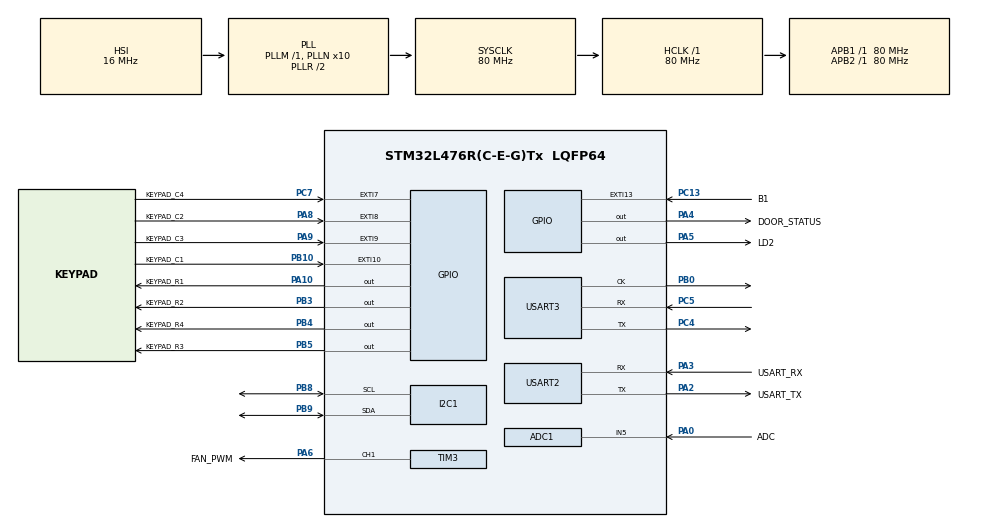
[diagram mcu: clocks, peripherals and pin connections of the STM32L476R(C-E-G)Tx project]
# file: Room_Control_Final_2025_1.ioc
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ADC1.Channel-0\#ChannelRegularConversion=ADC_CHANNEL_5
ADC1.NbrOfConversionFlag=1
ADC1.OffsetNumber-0\#ChannelRegularConversion=ADC_OFFSET_NONE
ADC1.Rank-0\#ChannelRegularConversion=1
ADC1.SamplingTime-0\#ChannelRegularConversion=ADC_SAMPLETIME_2CYCLES_5
ADC1.master=1
Dma.Request0=TIM3_CH1/TRIG
Dma.TIM3_CH1/TRIG.0.Direction=DMA_MEMORY_TO_PERIPH
Dma.TIM3_CH1/TRIG.0.Instance=DMA1_Channel6
Dma.TIM3_CH1/TRIG.0.MemDataAlignment=DMA_MDATAALIGN_HALFWORD
Dma.TIM3_CH1/TRIG.0.MemInc=DMA_MINC_ENABLE
Dma.TIM3_CH1/TRIG.0.Mode=DMA_NORMAL
Dma.TIM3_CH1/TRIG.0.PeriphDataAlignment=DMA_PDATAALIGN_HALFWORD
Dma.TIM3_CH1/TRIG.0.PeriphInc=DMA_PINC_DISABLE
Dma.TIM3_CH1/TRIG.0.Priority=DMA_PRIORITY_LOW
I2C1.Timing=0x10D19CE4
Mcu.Family=STM32L4
Mcu.Name=STM32L476R(C-E-G)Tx
Mcu.Package=LQFP64
NVIC.DMA1_Channel6_IRQn=true\:0\:0\:false\:false\:true\:false\:true\:true
NVIC.EXTI15_10_IRQn=true\:0\:0\:false\:false\:true\:true\:true\:true
NVIC.EXTI9_5_IRQn=true\:0\:0\:false\:false\:true\:true\:true\:true
NVIC.I2C1_ER_IRQn=true\:0\:0\:false\:false\:true\:true\:true\:true
NVIC.I2C1_EV_IRQn=true\:0\:0\:false\:false\:true\:true\:true\:true
NVIC.PriorityGroup=NVIC_PRIORITYGROUP_4
NVIC.TIM3_IRQn=true\:0\:0\:false\:false\:true\:true\:true\:true
NVIC.USART2_IRQn=true\:0\:0\:false\:false\:true\:true\:true\:true
NVIC.USART3_IRQn=true\:0\:0\:false\:false\:true\:true\:true\:true
PA0.GPIO_Label=ADC
PA0.Signal=ADCx_IN5
PA10.GPIO_Label=KEYPAD_R1
PA10.Signal=GPIO_Output
PA13\ (JTMS-SWDIO).GPIO_Label=TMS
PA13\ (JTMS-SWDIO).Mode=Serial_Wire
PA13\ (JTMS-SWDIO).Signal=SYS_JTMS-SWDIO
PA14\ (JTCK-SWCLK).GPIO_Label=TCK
PA14\ (JTCK-SWCLK).Mode=Serial_Wire
PA14\ (JTCK-SWCLK).Signal=SYS_JTCK-SWCLK
PA2.GPIO_Label=USART_TX
PA2.GPIO_Mode=GPIO_MODE_AF_PP
PA2.GPIO_PuPd=GPIO_NOPULL
PA2.GPIO_Speed=GPIO_SPEED_FREQ_VERY_HIGH
PA2.Mode=Asynchronous
PA2.Signal=USART2_TX
PA3.GPIO_Label=USART_RX
PA3.GPIO_Mode=GPIO_MODE_AF_PP
PA3.GPIO_PuPd=GPIO_NOPULL
PA3.GPIO_Speed=GPIO_SPEED_FREQ_VERY_HIGH
PA3.Mode=Asynchronous
PA3.Signal=USART2_RX
PA4.GPIO_Label=DOOR_STATUS
PA4.Signal=GPIO_Output
PA5.GPIO_Label=LD2
PA5.GPIO_ModeDefaultOutputPP=GPIO_MODE_OUTPUT_PP
PA5.GPIO_PuPd=GPIO_NOPULL
PA5.GPIO_Speed=GPIO_SPEED_FREQ_LOW
PA5.Signal=GPIO_Output
PA6.GPIO_Label=FAN_PWM
PA6.Signal=S_TIM3_CH1
PA8.GPIO_Label=KEYPAD_C2
PA8.GPIO_ModeDefaultEXTI=GPIO_MODE_IT_FALLING
PA8.GPIO_PuPd=GPIO_PULLUP
PA8.Signal=GPXTI8
PA9.GPIO_Label=KEYPAD_C3
PA9.GPIO_ModeDefaultEXTI=GPIO_MODE_IT_FALLING
PA9.GPIO_PuPd=GPIO_PULLUP
PA9.Signal=GPXTI9
PB0.Mode=Synchronous
PB0.Signal=USART3_CK
PB10.GPIO_Label=KEYPAD_C1
PB10.GPIO_ModeDefaultEXTI=GPIO_MODE_IT_FALLING
PB10.GPIO_PuPd=GPIO_PULLUP
PB10.Signal=GPXTI10
PB3\ (JTDO-TRACESWO).GPIO_Label=KEYPAD_R2
PB3\ (JTDO-TRACESWO).Signal=GPIO_Output
PB4\ (NJTRST).GPIO_Label=KEYPAD_R4
PB4\ (NJTRST).Signal=GPIO_Output
PB5.GPIO_Label=KEYPAD_R3
PB5.Signal=GPIO_Output
PB8.Mode=I2C
PB8.Signal=I2C1_SCL
PB9.Mode=I2C
PB9.Signal=I2C1_SDA
PC13.GPIO_Label=B1
PC13.GPIO_ModeDefaultEXTI=GPIO_MODE_IT_FALLING
PC13.GPIO_PuPd=GPIO_NOPULL
PC13.Signal=GPXTI13
PC14-OSC32_IN\ (PC14).Mode=LSE-External-Oscillator
PC14-OSC32_IN\ (PC14).Signal=RCC_OSC32_IN
PC15-OSC32_OUT\ (PC15).Mode=LSE-External-Oscillator
PC15-OSC32_OUT\ (PC15).Signal=RCC_OSC32_OUT
PC4.Mode=Synchronous
PC4.Signal=USART3_TX
PC5.Mode=Synchronous
PC5.Signal=USART3_RX
PC7.GPIO_Label=KEYPAD_C4
PC7.GPIO_ModeDefaultEXTI=GPIO_MODE_IT_FALLING
PC7.GPIO_PuPd=GPIO_PULLUP
PC7.Signal=GPXTI7
PH0-OSC_IN\ (PH0).Signal=RCC_OSC_IN
PH1-OSC_OUT\ (PH1).Signal=RCC_OSC_OUT
ProjectManager.HeapSize=0x200
ProjectManager.StackSize=0x400
ProjectManager.TargetToolchain=CMake
RCC.ADCFreq_Value=64000000
RCC.AHBFreq_Value=80000000
RCC.APB1Freq_Value=80000000
RCC.APB1TimFreq_Value=80000000
RCC.APB2Freq_Value=80000000
RCC.APB2TimFreq_Value=80000000
RCC.CortexFreq_Value=80000000
RCC.HCLKFreq_Value=80000000
RCC.HSE_VALUE=8000000
RCC.HSI_VALUE=16000000
RCC.MSI_VALUE=4000000
RCC.PLLN=10
RCC.PLLSourceVirtual=RCC_PLLSOURCE_HSI
RCC.PREFETCH_ENABLE=1
RCC.SYSCLKFreq_VALUE=80000000
RCC.SYSCLKSource=RCC_SYSCLKSOURCE_PLLCLK
RCC.USBFreq_Value=64000000
RCC.VCOOutputFreq_Value=160000000
SH.ADCx_IN5.0=ADC1_IN5,IN5-Single-Ended
SH.S_TIM3_CH1.0=TIM3_CH1,PWM Generation1 CH1
TIM3.Channel-PWM\ Generation1\ CH1=TIM_CHANNEL_1
TIM3.Period=100 - 1
TIM3.Prescaler=8000 - 1
USART2.VirtualMode-Asynchronous=VM_ASYNC
USART3.VirtualMode-Synchronous=VM_SYNC
board=NUCLEO-L476RG

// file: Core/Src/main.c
/* USER CODE BEGIN Header */
/**
  ******************************************************************************
  * @file           : main.c
  * @brief          : Main program body
  ******************************************************************************
  * @attention
  *
  * Copyright (c) 2025 STMicroelectronics.
  * All rights reserved.
  *
  * This software is licensed under terms that can be found in the LICENSE file
  * in the root directory of this software component.
  * If no LICENSE file comes with this software, it is provided AS-IS.
  *
  ******************************************************************************
  */
/* USER CODE END Header */
#include "main.h"

/* USER CODE BEGIN Includes */
#include "led.h"
#include "keypad.h"
#include "ring_buffer.h"
#include "room_control.h"
#include <stdio.h>

#include "ssd1306.h"
#include "ssd1306_fonts.h"

/* USER CODE END Includes */

/* USER CODE BEGIN PD */
#define TEMP_READ_INTERVAL_MS 1000 // Intervalo de lectura del sensor de temperatura en milisegundos
#define TEMP_DISPLAY_X 17
/* USER CODE END PD */

ADC_HandleTypeDef hadc1;

I2C_HandleTypeDef hi2c1;

TIM_HandleTypeDef htim3;
DMA_HandleTypeDef hdma_tim3_ch1_trig;

UART_HandleTypeDef huart2;
USART_HandleTypeDef husart3;

/* USER CODE BEGIN PV */
uint8_t button_pressed = 0; // Flag to indicate if the button is pressed

/**
 * @brief Estructura que representa el LED (heartbeat).
 */
led_handle_t heartbeat_led = {
    .port = LD2_GPIO_Port,
    .pin = LD2_Pin
};

uint8_t usart_2_rxbyte = 0; // Variable to hold received byte from UART3
/*Estructura que representa el teclado matricial (keypad).*/
keypad_handle_t keypad = {
    .row_ports = {KEYPAD_R1_GPIO_Port, KEYPAD_R2_GPIO_Port, KEYPAD_R3_GPIO_Port, KEYPAD_R4_GPIO_Port},
    .row_pins  = {KEYPAD_R1_Pin, KEYPAD_R2_Pin, KEYPAD_R3_Pin, KEYPAD_R4_Pin},
    .col_ports = {KEYPAD_C1_GPIO_Port, KEYPAD_C2_GPIO_Port, KEYPAD_C3_GPIO_Port, KEYPAD_C4_GPIO_Port},
    .col_pins  = {KEYPAD_C1_Pin, KEYPAD_C2_Pin, KEYPAD_C3_Pin, KEYPAD_C4_Pin}
};

// Buffer and ring buffer for keypad input
#define KEYPAD_BUFFER_LEN 16
uint8_t keypad_buffer[KEYPAD_BUFFER_LEN];
ring_buffer_t keypad_rb;

volatile uint16_t keypad_interrupt_pin = 0; // Flag to indicate which keypad pin triggered the interrupt

// Room control system instance
room_control_t room_system;
/* USER CODE END PV */

void SystemClock_Config(void);
static void MX_GPIO_Init(void);
static void MX_DMA_Init(void);
static void MX_USART2_UART_Init(void);
static void MX_I2C1_Init(void);
static void MX_TIM3_Init(void);
static void MX_ADC1_Init(void);
static void MX_USART3_Init(void);

/* USER CODE BEGIN 0 */
void HAL_GPIO_EXTI_Callback(uint16_t GPIO_Pin) // This function is called when an external interrupt GPIO pin is triggered
{
  if (GPIO_Pin == B1_Pin) {
    button_pressed = 1; // Set the flag when the button is pressed
  } else {
    keypad_interrupt_pin = GPIO_Pin;
  }
}
/**
 * @brief Callback function for UART receive complete interrupt.
 * @param huart Pointer to the UART handle.
 * @retval None
 */
void HAL_UART_RxCpltCallback(UART_HandleTypeDef *huart)
{
  if (huart->Instance == USART2) {
    HAL_UART_Receive_IT(&huart2, &usart_2_rxbyte, 1);
  }
}
/**
 * @brief Parpadeo de LED de latido.
 * @retval None
 */

void heartbeat(void)
{
  static uint32_t last_toggle = 0;
  if (HAL_GetTick() - last_toggle >= 500) { // Toggle every 500 ms
    led_toggle(&heartbeat_led); // Toggle the heartbeat LED
    last_toggle = HAL_GetTick();
  }
}

/**
  * @brief  Lee el valor del ADC y lo convierte a una temperatura simulada.
  * @retval La temperatura simulada en grados Celsius.
  */
float read_temperature_sensor(void)
{
    float temperature = 20.0f; // Valor por defecto si la lectura falla

    // Inicia la conversión del ADC
    HAL_ADC_Start(&hadc1);

    // Espera a que la conversión termine (con un timeout de seguridad de 100ms)
    if (HAL_ADC_PollForConversion(&hadc1, 100) == HAL_OK) {
        uint32_t adc_value = HAL_ADC_GetValue(&hadc1);

        // Mapea el valor del ADC (0-4095 para 12 bits) a un rango de temperatura
        // útil para la simulación (ej: 15°C a 35°C).
        // Fórmula de mapeo lineal: Y = Y_min + (X / X_max) * (Y_max - Y_min)
        temperature = 15.0f + ((float)adc_value / 4095.0f) * (35.0f - 15.0f);
    }

    // Detiene el ADC para ahorrar energía
    HAL_ADC_Stop(&hadc1);

    return temperature;
}

void write_to_oled(char *message, SSD1306_COLOR color, uint8_t x, uint8_t y)
{
  ssd1306_Fill(Black); // Clear the display
  ssd1306_SetCursor(x, y); // Set cursor to the specified position
  ssd1306_WriteString(message, Font_7x10, color);
  ssd1306_UpdateScreen(); // Update the display to show the message
}

/* USER CODE END 0 */

int main(void)
{

  /* MCU Configuration--------------------------------------------------------*/

  /* Reset of all peripherals, Initializes the Flash interface and the Systick. */
  HAL_Init();

  /* Configure the system clock */
  SystemClock_Config();

  /* Initialize all configured peripherals */
  MX_GPIO_Init();
  MX_DMA_Init();
  MX_USART2_UART_Init();
  MX_I2C1_Init();
  MX_TIM3_Init();
  MX_ADC1_Init();
  MX_USART3_Init();
  /* USER CODE BEGIN 2 */
  led_init(&heartbeat_led);
  ssd1306_Init();
  HAL_UART_Receive_IT(&huart2, &usart_2_rxbyte, 1);

  ring_buffer_init(&keypad_rb, keypad_buffer, KEYPAD_BUFFER_LEN);
  keypad_init(&keypad);

  // Calibrar el ADC una vez antes de su primer uso para mayor precisión
  HAL_ADCEx_Calibration_Start(&hadc1, ADC_SINGLE_ENDED);
  //  Lógica del sistema
  room_control_init(&room_system); // Initialize the room control system

  /* USER CODE END 2 */

  /* Infinite loop */
  /* USER CODE BEGIN WHILE */

  // Clear the display
  ssd1306_Fill(Black);
  // Display a message on the OLED
  //ssd1306_SetCursor(17, 17); // Set cursor to the center
  //ssd1306_WriteString("Hello, 4100901!", Font_7x10, White);
  //ssd1306_UpdateScreen(); // Update the display to show the
  //HAL_UART_Transmit(&huart2, (uint8_t *)"Hello, 4100901!\r\n", 17, HAL_MAX_DELAY);
  while (1) {
    heartbeat(); // Call the heartbeat function to toggle the LED

    // TODO: TAREA - Descomentar cuando implementen la máquina de estados
    room_control_update(&room_system);

    // DEMO: Keypad functionality - Remove when implementing room control logic
    if (keypad_interrupt_pin != 0) {
      char key = keypad_scan(&keypad, keypad_interrupt_pin);
      if (key != '\0') {    // TODO: TAREA - Descomentar para enviar teclas al sistema de control
        room_control_process_key(&room_system, key);
      }
      keypad_interrupt_pin = 0;
    }

    /* DEMO: Button functionality - Remove when implementing room control logic
    if (button_pressed) {
      write_to_oled("Button Pressed!", White, 17, 17); // Display message on OLED
      button_pressed = 0; // Reset the flag
    }
    */
    /* DEMO: UART functionality - Remove when implementing room control logic
    if (usart_2_rxbyte != 0) {
      write_to_oled((char *)&usart_2_rxbyte, White, 31, 31); // Display received byte on OLED
      usart_2_rxbyte = 0; // Reset the received byte variable
    }
*/
    // TODO: TAREA - Implementar procesamiento de comandos remotos
    // command_parser_process(); // Procesar comandos de UART2 y UART3
    // TODO: TAREA - Leer sensor de temperatura y actualizar sistema
    // float temperature = temperature_sensor_read();
    //room_control_set_temperature(&room_system, temperature);
    //if (HAL_GetTick() - last_temp_read_time > TEMP_READ_INTERVAL_MS) {
      //  float temperature = read_temperature_sensor();
        //room_control_set_temperature(&room_system, temperature);
        //last_temp_read_time = HAL_GetTick(); // Actualiza el temporizador.}

    /* USER CODE END WHILE */

  }
}

void SystemClock_Config(void)
{
  RCC_OscInitTypeDef RCC_OscInitStruct = {0};
  RCC_ClkInitTypeDef RCC_ClkInitStruct = {0};

  /** Configure the main internal regulator output voltage
  */
  if (HAL_PWREx_ControlVoltageScaling(PWR_REGULATOR_VOLTAGE_SCALE1) != HAL_OK)
  {
    Error_Handler();
  }

  /** Initializes the RCC Oscillators according to the specified parameters
  * in the RCC_OscInitTypeDef structure.
  */
  RCC_OscInitStruct.OscillatorType = RCC_OSCILLATORTYPE_HSI;
  RCC_OscInitStruct.HSIState = RCC_HSI_ON;
  RCC_OscInitStruct.HSICalibrationValue = RCC_HSICALIBRATION_DEFAULT;
  RCC_OscInitStruct.PLL.PLLState = RCC_PLL_ON;
  RCC_OscInitStruct.PLL.PLLSource = RCC_PLLSOURCE_HSI;
  RCC_OscInitStruct.PLL.PLLM = 1;
  RCC_OscInitStruct.PLL.PLLN = 10;
  RCC_OscInitStruct.PLL.PLLP = RCC_PLLP_DIV7;
  RCC_OscInitStruct.PLL.PLLQ = RCC_PLLQ_DIV2;
  RCC_OscInitStruct.PLL.PLLR = RCC_PLLR_DIV2;
  if (HAL_RCC_OscConfig(&RCC_OscInitStruct) != HAL_OK)
  {
    Error_Handler();
  }

  /** Initializes the CPU, AHB and APB buses clocks
  */
  RCC_ClkInitStruct.ClockType = RCC_CLOCKTYPE_HCLK|RCC_CLOCKTYPE_SYSCLK
                              |RCC_CLOCKTYPE_PCLK1|RCC_CLOCKTYPE_PCLK2;
  RCC_ClkInitStruct.SYSCLKSource = RCC_SYSCLKSOURCE_PLLCLK;
  RCC_ClkInitStruct.AHBCLKDivider = RCC_SYSCLK_DIV1;
  RCC_ClkInitStruct.APB1CLKDivider = RCC_HCLK_DIV1;
  RCC_ClkInitStruct.APB2CLKDivider = RCC_HCLK_DIV1;

  if (HAL_RCC_ClockConfig(&RCC_ClkInitStruct, FLASH_LATENCY_4) != HAL_OK)
  {
    Error_Handler();
  }
}

static void MX_ADC1_Init(void)
{

  ADC_MultiModeTypeDef multimode = {0};
  ADC_ChannelConfTypeDef sConfig = {0};

  /** Common config
  */
  hadc1.Instance = ADC1;
  hadc1.Init.ClockPrescaler = ADC_CLOCK_ASYNC_DIV1;
  hadc1.Init.Resolution = ADC_RESOLUTION_12B;
  hadc1.Init.DataAlign = ADC_DATAALIGN_RIGHT;
  hadc1.Init.ScanConvMode = ADC_SCAN_DISABLE;
  hadc1.Init.EOCSelection = ADC_EOC_SINGLE_CONV;
  hadc1.Init.LowPowerAutoWait = DISABLE;
  hadc1.Init.ContinuousConvMode = DISABLE;
  hadc1.Init.NbrOfConversion = 1;
  hadc1.Init.DiscontinuousConvMode = DISABLE;
  hadc1.Init.ExternalTrigConv = ADC_SOFTWARE_START;
  hadc1.Init.ExternalTrigConvEdge = ADC_EXTERNALTRIGCONVEDGE_NONE;
  hadc1.Init.DMAContinuousRequests = DISABLE;
  hadc1.Init.Overrun = ADC_OVR_DATA_PRESERVED;
  hadc1.Init.OversamplingMode = DISABLE;
  if (HAL_ADC_Init(&hadc1) != HAL_OK)
  {
    Error_Handler();
  }

  /** Configure the ADC multi-mode
  */
  multimode.Mode = ADC_MODE_INDEPENDENT;
  if (HAL_ADCEx_MultiModeConfigChannel(&hadc1, &multimode) != HAL_OK)
  {
    Error_Handler();
  }

  /** Configure Regular Channel
  */
  sConfig.Channel = ADC_CHANNEL_5;
  sConfig.Rank = ADC_REGULAR_RANK_1;
  sConfig.SamplingTime = ADC_SAMPLETIME_2CYCLES_5;
  sConfig.SingleDiff = ADC_SINGLE_ENDED;
  sConfig.OffsetNumber = ADC_OFFSET_NONE;
  sConfig.Offset = 0;
  if (HAL_ADC_ConfigChannel(&hadc1, &sConfig) != HAL_OK)
  {
    Error_Handler();
  }

}

static void MX_I2C1_Init(void)
{

  hi2c1.Instance = I2C1;
  hi2c1.Init.Timing = 0x10D19CE4;
  hi2c1.Init.OwnAddress1 = 0;
  hi2c1.Init.AddressingMode = I2C_ADDRESSINGMODE_7BIT;
  hi2c1.Init.DualAddressMode = I2C_DUALADDRESS_DISABLE;
  hi2c1.Init.OwnAddress2 = 0;
  hi2c1.Init.OwnAddress2Masks = I2C_OA2_NOMASK;
  hi2c1.Init.GeneralCallMode = I2C_GENERALCALL_DISABLE;
  hi2c1.Init.NoStretchMode = I2C_NOSTRETCH_DISABLE;
  if (HAL_I2C_Init(&hi2c1) != HAL_OK)
  {
    Error_Handler();
  }

  /** Configure Analogue filter
  */
  if (HAL_I2CEx_ConfigAnalogFilter(&hi2c1, I2C_ANALOGFILTER_ENABLE) != HAL_OK)
  {
    Error_Handler();
  }

  /** Configure Digital filter
  */
  if (HAL_I2CEx_ConfigDigitalFilter(&hi2c1, 0) != HAL_OK)
  {
    Error_Handler();
  }

}

static void MX_TIM3_Init(void)
{

  TIM_MasterConfigTypeDef sMasterConfig = {0};
  TIM_OC_InitTypeDef sConfigOC = {0};

  htim3.Instance = TIM3;
  htim3.Init.Prescaler = 8000 - 1;
  htim3.Init.CounterMode = TIM_COUNTERMODE_UP;
  htim3.Init.Period = 100 - 1;
  htim3.Init.ClockDivision = TIM_CLOCKDIVISION_DIV1;
  htim3.Init.AutoReloadPreload = TIM_AUTORELOAD_PRELOAD_DISABLE;
  if (HAL_TIM_PWM_Init(&htim3) != HAL_OK)
  {
    Error_Handler();
  }
  sMasterConfig.MasterOutputTrigger = TIM_TRGO_RESET;
  sMasterConfig.MasterSlaveMode = TIM_MASTERSLAVEMODE_DISABLE;
  if (HAL_TIMEx_MasterConfigSynchronization(&htim3, &sMasterConfig) != HAL_OK)
  {
    Error_Handler();
  }
  sConfigOC.OCMode = TIM_OCMODE_PWM1;
  sConfigOC.Pulse = 0;
  sConfigOC.OCPolarity = TIM_OCPOLARITY_HIGH;
  sConfigOC.OCFastMode = TIM_OCFAST_DISABLE;
  if (HAL_TIM_PWM_ConfigChannel(&htim3, &sConfigOC, TIM_CHANNEL_1) != HAL_OK)
  {
    Error_Handler();
  }
  HAL_TIM_MspPostInit(&htim3);

}

static void MX_USART2_UART_Init(void)
{

  huart2.Instance = USART2;
  huart2.Init.BaudRate = 115200;
  huart2.Init.WordLength = UART_WORDLENGTH_8B;
  huart2.Init.StopBits = UART_STOPBITS_1;
  huart2.Init.Parity = UART_PARITY_NONE;
  huart2.Init.Mode = UART_MODE_TX_RX;
  huart2.Init.HwFlowCtl = UART_HWCONTROL_NONE;
  huart2.Init.OverSampling = UART_OVERSAMPLING_16;
  huart2.Init.OneBitSampling = UART_ONE_BIT_SAMPLE_DISABLE;
  huart2.AdvancedInit.AdvFeatureInit = UART_ADVFEATURE_NO_INIT;
  if (HAL_UART_Init(&huart2) != HAL_OK)
  {
    Error_Handler();
  }

}

static void MX_USART3_Init(void)
{

  husart3.Instance = USART3;
  husart3.Init.BaudRate = 115200;
  husart3.Init.WordLength = USART_WORDLENGTH_8B;
  husart3.Init.StopBits = USART_STOPBITS_1;
  husart3.Init.Parity = USART_PARITY_NONE;
  husart3.Init.Mode = USART_MODE_TX_RX;
  husart3.Init.CLKPolarity = USART_POLARITY_LOW;
  husart3.Init.CLKPhase = USART_PHASE_1EDGE;
  husart3.Init.CLKLastBit = USART_LASTBIT_DISABLE;
  if (HAL_USART_Init(&husart3) != HAL_OK)
  {
    Error_Handler();
  }

}

static void MX_DMA_Init(void)
{

  /* DMA controller clock enable */
  __HAL_RCC_DMA1_CLK_ENABLE();

  /* DMA interrupt init */
  /* DMA1_Channel6_IRQn interrupt configuration */
  HAL_NVIC_SetPriority(DMA1_Channel6_IRQn, 0, 0);
  HAL_NVIC_EnableIRQ(DMA1_Channel6_IRQn);

}

static void MX_GPIO_Init(void)
{
  GPIO_InitTypeDef GPIO_InitStruct = {0};

  /* GPIO Ports Clock Enable */
  __HAL_RCC_GPIOC_CLK_ENABLE();
  __HAL_RCC_GPIOH_CLK_ENABLE();
  __HAL_RCC_GPIOA_CLK_ENABLE();
  __HAL_RCC_GPIOB_CLK_ENABLE();

  /*Configure GPIO pin Output Level */
  HAL_GPIO_WritePin(GPIOA, DOOR_STATUS_Pin|LD2_Pin|KEYPAD_R1_Pin, GPIO_PIN_RESET);

  /*Configure GPIO pin Output Level */
  HAL_GPIO_WritePin(GPIOB, KEYPAD_R2_Pin|KEYPAD_R4_Pin|KEYPAD_R3_Pin, GPIO_PIN_RESET);

  /*Configure GPIO pin : B1_Pin */
  GPIO_InitStruct.Pin = B1_Pin;
  GPIO_InitStruct.Mode = GPIO_MODE_IT_FALLING;
  GPIO_InitStruct.Pull = GPIO_NOPULL;
  HAL_GPIO_Init(B1_GPIO_Port, &GPIO_InitStruct);

  /*Configure GPIO pins : DOOR_STATUS_Pin LD2_Pin KEYPAD_R1_Pin */
  GPIO_InitStruct.Pin = DOOR_STATUS_Pin|LD2_Pin|KEYPAD_R1_Pin;
  GPIO_InitStruct.Mode = GPIO_MODE_OUTPUT_PP;
  GPIO_InitStruct.Pull = GPIO_NOPULL;
  GPIO_InitStruct.Speed = GPIO_SPEED_FREQ_LOW;
  HAL_GPIO_Init(GPIOA, &GPIO_InitStruct);

  /*Configure GPIO pin : KEYPAD_C1_Pin */
  GPIO_InitStruct.Pin = KEYPAD_C1_Pin;
  GPIO_InitStruct.Mode = GPIO_MODE_IT_FALLING;
  GPIO_InitStruct.Pull = GPIO_PULLUP;
  HAL_GPIO_Init(KEYPAD_C1_GPIO_Port, &GPIO_InitStruct);

  /*Configure GPIO pin : KEYPAD_C4_Pin */
  GPIO_InitStruct.Pin = KEYPAD_C4_Pin;
  GPIO_InitStruct.Mode = GPIO_MODE_IT_FALLING;
  GPIO_InitStruct.Pull = GPIO_PULLUP;
  HAL_GPIO_Init(KEYPAD_C4_GPIO_Port, &GPIO_InitStruct);

  /*Configure GPIO pins : KEYPAD_C2_Pin KEYPAD_C3_Pin */
  GPIO_InitStruct.Pin = KEYPAD_C2_Pin|KEYPAD_C3_Pin;
  GPIO_InitStruct.Mode = GPIO_MODE_IT_FALLING;
  GPIO_InitStruct.Pull = GPIO_PULLUP;
  HAL_GPIO_Init(GPIOA, &GPIO_InitStruct);

  /*Configure GPIO pins : KEYPAD_R2_Pin KEYPAD_R4_Pin KEYPAD_R3_Pin */
  GPIO_InitStruct.Pin = KEYPAD_R2_Pin|KEYPAD_R4_Pin|KEYPAD_R3_Pin;
  GPIO_InitStruct.Mode = GPIO_MODE_OUTPUT_PP;
  GPIO_InitStruct.Pull = GPIO_NOPULL;
  GPIO_InitStruct.Speed = GPIO_SPEED_FREQ_LOW;
  HAL_GPIO_Init(GPIOB, &GPIO_InitStruct);

  /* EXTI interrupt init*/
  HAL_NVIC_SetPriority(EXTI9_5_IRQn, 0, 0);
  HAL_NVIC_EnableIRQ(EXTI9_5_IRQn);

  HAL_NVIC_SetPriority(EXTI15_10_IRQn, 0, 0);
  HAL_NVIC_EnableIRQ(EXTI15_10_IRQn);

}

void Error_Handler(void)
{
  __disable_irq();
  while (1)
  {
  }
}
